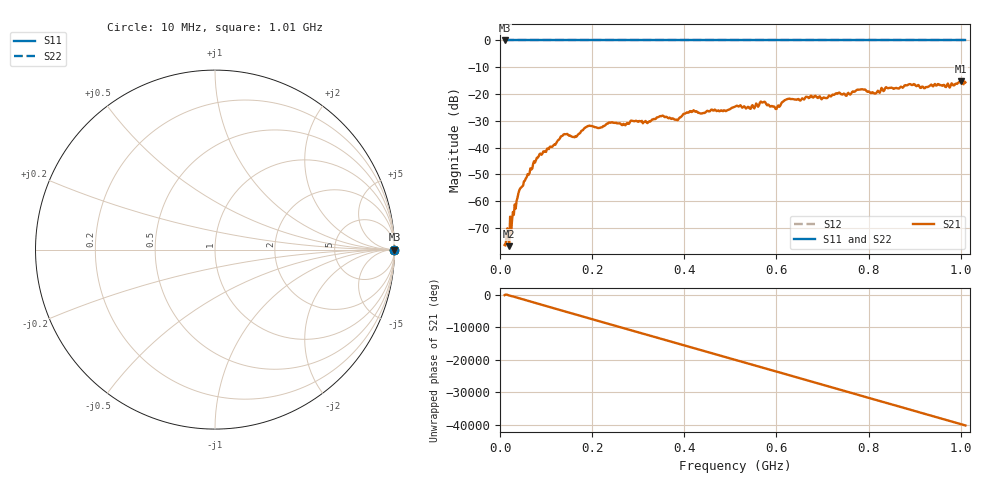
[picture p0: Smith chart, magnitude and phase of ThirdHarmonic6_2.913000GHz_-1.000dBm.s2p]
! 8/17/2025 8:05:08 AM
! C:\ANRITSUVNA\TEMP\TEMP.S2P
! CHANNEL.1
! TR.MEASUREMENT
! RAW.DATA
! RF.CORRECTION.OFF
! AVERAGING.OFF
! IF.BANDWIDTH: 5KHZ
! SWEEPTYPE:  FREQ.SWEEP(Linear)
! Reference Plane Port Info
! PORT:  PORT1  PORT2
! DISTANCE:  0  m  0  m
! TIME:  0  s  0  s
! PHASE.OFFSET:  0  deg.  0  deg.
! LOSS:  0  dB  0  dB
! REF.LOSS:  0  dB  0  dB
! REF.FREQ:  0  Hz  0  Hz
! Power Info
! POWER:  -20  dBm  -20  dBm
! EFF.POWER:  -20  dBm  -20  dBm
! SOURCE.ATTEN:  0  dB  0  dB
! TEST.ATTEN:  0  dB  0  dB
# GHZ S RI R 50.0
! FREQ.GHZ  S11RE  S11IM  S21RE  S21IM  S12RE  S12IM  S22RE  S22IM
!; PortSelection: Port_12
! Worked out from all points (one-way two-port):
!   501 points, 10 MHz to 1.01 GHz, reference 50 ohm
!   highest |S21| = -15.22 dB at 1 GHz (marker M1); lowest = -76.8 dB at 20 MHz (marker M2)
!   lowest |S11| = 0.0 dB at 10 MHz (marker M3)
!   |S11| at or under -10 dB: nowhere
!   |S22| runs from 0.0 to 0.0 dB; largest |S21 - S12| = 1.2
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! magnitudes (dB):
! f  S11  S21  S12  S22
! 10 MHz  0.0  -76.3  0.0  0.0
! 20 MHz  0.0  -76.8  0.0  0.0
! 42 MHz  0.0  -55.8  0.0  0.0
! 84 MHz  0.0  -43.2  0.0  0.0
! 136 MHz  0.0  -35.5  0.0  0.0
! 162 MHz  0.0  -36.1  0.0  0.0
! 178 MHz  0.0  -33.6  0.0  0.0
! 194 MHz  0.0  -31.8  0.0  0.0
! 344 MHz  0.0  -28.6  0.0  0.0
! 382 MHz  0.0  -29.5  0.0  0.0
! 416 MHz  0.0  -26.7  0.0  0.0
! 510 MHz  0.0  -24.7  0.0  0.0
! 548 MHz  0.0  -24.1  0.0  0.0
! 570 MHz  0.0  -23.1  0.0  0.0
! 602 MHz  0.0  -24.6  0.0  0.0
! 624 MHz  0.0  -21.9  0.0  0.0
! 678 MHz  0.0  -21.2  0.0  0.0
! 782 MHz  0.0  -18.3  0.0  0.0
! 814 MHz  0.0  -19.8  0.0  0.0
! 844 MHz  0.0  -17.7  0.0  0.0
! 1 GHz  0.0  -15.2  0.0  0.0
! 1.01 GHz  0.0  -15.7  0.0  0.0
